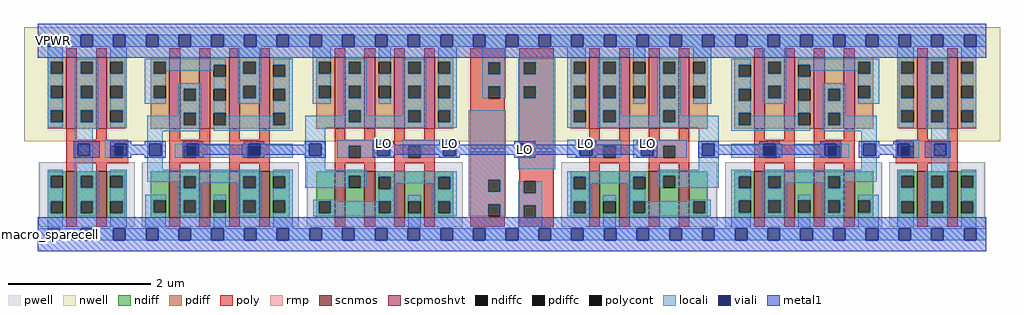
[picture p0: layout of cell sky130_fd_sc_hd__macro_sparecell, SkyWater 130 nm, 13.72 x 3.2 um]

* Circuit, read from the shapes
.subckt sky130_fd_sc_hd__macro_sparecell VGND VNB VPB VPWR LO
XM1 sky130_fd_sc_hd__inv_2_1/Y sky130_fd_sc_hd__inv_2_1/A VGND VNB sky130_fd_pr__nfet_01v8 w=0.65 l=0.15 m=2
XM2 sky130_fd_sc_hd__inv_2_1/A sky130_fd_sc_hd__nor2_2_1/A VGND VNB sky130_fd_pr__nfet_01v8 w=0.65 l=0.15 m=4
XM3 sky130_fd_sc_hd__nor2_2_1/A LO n1 VNB sky130_fd_pr__nfet_01v8 w=0.65 l=0.15 m=2
XM4 VGND LO n1 VNB sky130_fd_pr__nfet_01v8 w=0.65 l=0.15 m=2
XM5 VGND LO n2 VNB sky130_fd_pr__nfet_01v8 w=0.65 l=0.15 m=2
XM6 sky130_fd_sc_hd__nor2_2_0/A LO n2 VNB sky130_fd_pr__nfet_01v8 w=0.65 l=0.15 m=2
XM7 sky130_fd_sc_hd__inv_2_0/A sky130_fd_sc_hd__nor2_2_0/A VGND VNB sky130_fd_pr__nfet_01v8 w=0.65 l=0.15 m=4
XM8 sky130_fd_sc_hd__inv_2_0/Y sky130_fd_sc_hd__inv_2_0/A VGND VNB sky130_fd_pr__nfet_01v8 w=0.65 l=0.15 m=2
XM9 sky130_fd_sc_hd__inv_2_1/Y sky130_fd_sc_hd__inv_2_1/A VPWR VPB sky130_fd_pr__pfet_01v8_hvt w=1 l=0.15 m=2
XM10 sky130_fd_sc_hd__inv_2_1/A sky130_fd_sc_hd__nor2_2_1/A n3 VPB sky130_fd_pr__pfet_01v8_hvt w=1 l=0.15 m=2
XM11 VPWR sky130_fd_sc_hd__nor2_2_1/A n3 VPB sky130_fd_pr__pfet_01v8_hvt w=1 l=0.15 m=2
XM12 sky130_fd_sc_hd__nor2_2_1/A LO VPWR VPB sky130_fd_pr__pfet_01v8_hvt w=1 l=0.15 m=4
XM13 sky130_fd_sc_hd__nor2_2_0/A LO VPWR VPB sky130_fd_pr__pfet_01v8_hvt w=1 l=0.15 m=4
XM14 VPWR sky130_fd_sc_hd__nor2_2_0/A n4 VPB sky130_fd_pr__pfet_01v8_hvt w=1 l=0.15 m=2
XM15 sky130_fd_sc_hd__inv_2_0/A sky130_fd_sc_hd__nor2_2_0/A n4 VPB sky130_fd_pr__pfet_01v8_hvt w=1 l=0.15 m=2
XM16 sky130_fd_sc_hd__inv_2_0/Y sky130_fd_sc_hd__inv_2_0/A VPWR VPB sky130_fd_pr__pfet_01v8_hvt w=1 l=0.15 m=2
R17 VPWR sky130_fd_sc_hd__conb_1_0/HI sky130_fd_pr__res_generic_po w=0.48 l=0.045
R18 LO VGND sky130_fd_pr__res_generic_po w=0.48 l=0.045
.ends

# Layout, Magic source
magic
tech sky130A
magscale 1 2
<< nwell >>
rect 29 527 63 561
<< pwell >>
rect 29 -17 63 17
<< viali >>
rect 113 221 147 255
rect 217 221 251 255
rect 314 221 348 255
rect 420 221 454 255
rect 592 221 626 255
rect 764 221 798 255
rect 955 221 989 255
rect 1141 221 1175 255
rect 1353 221 1387 255
rect 1525 221 1559 255
rect 1697 221 1731 255
rect 1869 221 1903 255
rect 2041 221 2075 255
rect 2213 221 2247 255
rect 2321 221 2355 255
rect 2418 221 2452 255
rect 2521 221 2555 255
<< metal1 >>
rect 29 527 63 561
rect 101 255 175 261
rect 101 221 113 255
rect 147 221 175 255
rect 101 215 175 221
rect 205 255 263 261
rect 205 221 217 255
rect 251 252 263 255
rect 302 255 360 261
rect 302 252 314 255
rect 251 224 314 252
rect 251 221 263 224
rect 205 215 263 221
rect 302 221 314 224
rect 348 221 360 255
rect 302 215 360 221
rect 408 255 466 261
rect 408 221 420 255
rect 454 252 466 255
rect 580 255 638 261
rect 580 252 592 255
rect 454 224 592 252
rect 454 221 466 224
rect 408 215 466 221
rect 580 221 592 224
rect 626 252 638 255
rect 752 255 810 261
rect 752 252 764 255
rect 626 224 764 252
rect 626 221 638 224
rect 580 215 638 221
rect 752 221 764 224
rect 798 221 810 255
rect 752 215 810 221
rect 943 255 1001 261
rect 943 221 955 255
rect 989 252 1001 255
rect 1129 255 1187 261
rect 1129 252 1141 255
rect 989 224 1141 252
rect 989 221 1001 224
rect 943 215 1001 221
rect 1129 221 1141 224
rect 1175 252 1187 255
rect 1341 255 1399 261
rect 1341 252 1353 255
rect 1175 224 1353 252
rect 1175 221 1187 224
rect 1129 215 1187 221
rect 1341 221 1353 224
rect 1387 252 1399 255
rect 1513 255 1571 261
rect 1513 252 1525 255
rect 1387 224 1525 252
rect 1387 221 1399 224
rect 1341 215 1399 221
rect 1513 221 1525 224
rect 1559 252 1571 255
rect 1685 255 1743 261
rect 1685 252 1697 255
rect 1559 224 1697 252
rect 1559 221 1571 224
rect 1513 215 1571 221
rect 1685 221 1697 224
rect 1731 221 1743 255
rect 1685 215 1743 221
rect 1857 255 1915 261
rect 1857 221 1869 255
rect 1903 252 1915 255
rect 2029 255 2087 261
rect 2029 252 2041 255
rect 1903 224 2041 252
rect 1903 221 1915 224
rect 1857 215 1915 221
rect 2029 221 2041 224
rect 2075 252 2087 255
rect 2201 255 2259 261
rect 2201 252 2213 255
rect 2075 224 2213 252
rect 2075 221 2087 224
rect 2029 215 2087 221
rect 2201 221 2213 224
rect 2247 221 2259 255
rect 2201 215 2259 221
rect 2309 255 2367 261
rect 2309 221 2321 255
rect 2355 252 2367 255
rect 2406 255 2464 261
rect 2406 252 2418 255
rect 2355 224 2418 252
rect 2355 221 2367 224
rect 2309 215 2367 221
rect 2406 221 2418 224
rect 2452 221 2464 255
rect 2406 215 2464 221
rect 2494 255 2567 261
rect 2494 221 2521 255
rect 2555 221 2567 255
rect 2494 215 2567 221
rect 29 -17 63 17
use sky130_fd_sc_hd__conb_1  sky130_fd_sc_hd__conb_1_0
transform 1 0 1196 0 1 0
box -38 -48 314 592
use sky130_fd_sc_hd__inv_2  sky130_fd_sc_hd__inv_2_0
transform 1 0 2392 0 1 0
box -38 -48 314 592
use sky130_fd_sc_hd__inv_2  sky130_fd_sc_hd__inv_2_1
transform -1 0 276 0 1 0
box -38 -48 314 592
use sky130_fd_sc_hd__nand2_2  sky130_fd_sc_hd__nand2_2_0
transform 1 0 1472 0 1 0
box -38 -48 498 592
use sky130_fd_sc_hd__nand2_2  sky130_fd_sc_hd__nand2_2_1
transform -1 0 1196 0 1 0
box -38 -48 498 592
use sky130_fd_sc_hd__nor2_2  sky130_fd_sc_hd__nor2_2_0
transform 1 0 1932 0 1 0
box -38 -48 498 592
use sky130_fd_sc_hd__nor2_2  sky130_fd_sc_hd__nor2_2_1
transform -1 0 736 0 1 0
box -38 -48 498 592
<< labels >>
rlabel comment s 0 0 0 0 4 macro_sparecell
flabel metal1 s 29 -17 63 17 0 FreeSans 200 0 0 0 VGND
port 1 nsew ground bidirectional abutment
flabel metal1 s 29 527 63 561 0 FreeSans 200 0 0 0 VPWR
port 4 nsew power bidirectional abutment
flabel metal1 s 46 0 46 0 0 FreeSans 400 0 0 0 VGND
flabel metal1 s 46 544 46 544 0 FreeSans 400 0 0 0 VPWR
flabel metal1 s 1353 221 1387 255 0 FreeSans 200 0 0 0 LO
port 5 nsew signal output
flabel metal1 s 46 0 46 0 0 FreeSans 200 0 0 0 VGND
flabel metal1 s 46 544 46 544 0 FreeSans 200 0 0 0 VPWR
flabel metal1 s 46 0 46 0 0 FreeSans 200 0 0 0 VGND
flabel metal1 s 46 544 46 544 0 FreeSans 200 0 0 0 VPWR
flabel pwell s 29 -17 63 17 0 FreeSans 200 0 0 0 VNB
port 2 nsew ground bidirectional
flabel nwell s 29 527 63 561 0 FreeSans 200 0 0 0 VPB
port 3 nsew power bidirectional
rlabel metal1 s 1685 252 1743 261 1 LO
port 5 nsew signal output
rlabel metal1 s 1685 215 1743 224 1 LO
port 5 nsew signal output
rlabel metal1 s 1513 252 1571 261 1 LO
port 5 nsew signal output
rlabel metal1 s 1513 215 1571 224 1 LO
port 5 nsew signal output
rlabel metal1 s 1341 252 1399 261 1 LO
port 5 nsew signal output
rlabel metal1 s 1341 215 1399 224 1 LO
port 5 nsew signal output
rlabel metal1 s 1129 252 1187 261 1 LO
port 5 nsew signal output
rlabel metal1 s 1129 215 1187 224 1 LO
port 5 nsew signal output
rlabel metal1 s 943 252 1001 261 1 LO
port 5 nsew signal output
rlabel metal1 s 943 224 1743 252 1 LO
port 5 nsew signal output
rlabel metal1 s 943 215 1001 224 1 LO
port 5 nsew signal output
<< properties >>
string FIXED_BBOX 0 0 2668 544
string GDS_END 1642670
string GDS_FILE $PDKPATH/libs.ref/sky130_fd_sc_hd/gds/sky130_fd_sc_hd.gds
string GDS_START 1638744
string LEFclass CORE
string LEFsite unithd
string LEFsymmetry X Y R90
<< end >>

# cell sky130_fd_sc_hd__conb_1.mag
magic
tech sky130A
magscale 1 2
<< nwell >>
rect -38 261 314 582
<< pwell >>
rect 29 -17 63 17
<< poly >>
rect 21 484 117 523
rect 21 450 71 484
rect 105 450 117 484
rect 21 416 117 450
rect 21 382 71 416
rect 105 382 117 416
rect 21 241 117 382
rect 21 153 117 232
rect 21 119 71 153
rect 105 119 117 153
rect 21 85 117 119
rect 21 51 71 85
rect 105 51 117 85
rect 21 21 117 51
rect 159 484 255 523
rect 159 450 171 484
rect 205 450 255 484
rect 159 416 255 450
rect 159 382 171 416
rect 205 382 255 416
rect 159 241 255 382
rect 159 149 255 232
rect 159 115 171 149
rect 205 115 255 149
rect 159 81 255 115
rect 159 47 171 81
rect 205 47 255 81
rect 159 21 255 47
<< polycont >>
rect 71 450 105 484
rect 71 382 105 416
rect 71 119 105 153
rect 71 51 105 85
rect 171 450 205 484
rect 171 382 205 416
rect 171 115 205 149
rect 171 47 205 81
<< rmp >>
rect 21 232 117 241
rect 159 232 255 241
<< locali >>
rect 0 527 29 561
rect 63 527 121 561
rect 155 527 213 561
rect 247 527 276 561
rect 55 484 121 527
rect 55 450 71 484
rect 105 450 121 484
rect 55 416 121 450
rect 55 382 71 416
rect 105 382 121 416
rect 155 484 259 493
rect 155 450 171 484
rect 205 450 259 484
rect 155 416 259 450
rect 155 382 171 416
rect 205 382 259 416
rect 17 153 121 348
rect 155 183 259 382
rect 17 119 71 153
rect 105 119 121 153
rect 17 85 121 119
rect 17 51 71 85
rect 105 51 121 85
rect 155 115 171 149
rect 205 115 223 149
rect 155 81 223 115
rect 155 47 171 81
rect 205 47 223 81
rect 155 17 223 47
rect 0 -17 29 17
rect 63 -17 121 17
rect 155 -17 213 17
rect 247 -17 276 17
<< viali >>
rect 29 527 63 561
rect 121 527 155 561
rect 213 527 247 561
rect 29 -17 63 17
rect 121 -17 155 17
rect 213 -17 247 17
<< metal1 >>
rect 0 561 276 592
rect 0 527 29 561
rect 63 527 121 561
rect 155 527 213 561
rect 247 527 276 561
rect 0 496 276 527
rect 0 17 276 48
rect 0 -17 29 17
rect 63 -17 121 17
rect 155 -17 213 17
rect 247 -17 276 17
rect 0 -48 276 -17
<< labels >>
flabel locali s 194 289 228 323 0 FreeSans 200 0 0 0 LO
port 6 nsew signal output
flabel locali s 67 225 101 259 0 FreeSans 200 0 0 0 HI
port 5 nsew signal output
flabel nwell s 29 527 63 561 0 FreeSans 200 0 0 0 VPB
port 3 nsew power bidirectional
flabel pwell s 29 -17 63 17 0 FreeSans 200 0 0 0 VNB
port 2 nsew ground bidirectional
flabel metal1 s 29 -17 63 17 0 FreeSans 200 0 0 0 VGND
port 1 nsew ground bidirectional abutment
flabel metal1 s 29 527 63 561 0 FreeSans 200 0 0 0 VPWR
port 4 nsew power bidirectional abutment
rlabel comment s 0 0 0 0 4 conb_1
flabel comment s 45 273 45 273 0 FreeSans 200 90 0 0 resistive_li1_ok
flabel comment s 233 273 233 273 0 FreeSans 200 90 0 0 resistive_li1_ok
flabel comment s 186 258 186 258 0 FreeSans 200 90 0 0 no_jumper_check
flabel comment s 83 258 83 258 0 FreeSans 200 90 0 0 no_jumper_check
rlabel metal1 s 0 -48 276 48 1 VGND
port 1 nsew ground bidirectional abutment
rlabel metal1 s 0 496 276 592 1 VPWR
port 4 nsew power bidirectional abutment
<< properties >>
string FIXED_BBOX 0 0 276 544
string GDS_END 1638680
string GDS_FILE $PDKPATH/libs.ref/sky130_fd_sc_hd/gds/sky130_fd_sc_hd.gds
string GDS_START 1635376
string LEFclass CORE
string LEFsite unithd
string LEFsymmetry X Y R90
string path 0.000 13.600 6.900 13.600 
<< end >>

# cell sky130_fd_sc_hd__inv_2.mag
magic
tech sky130A
magscale 1 2
<< nwell >>
rect -38 261 314 582
<< pwell >>
rect 3 21 273 203
rect 29 -17 63 21
<< scnmos >>
rect 81 47 111 177
rect 165 47 195 177
<< scpmoshvt >>
rect 81 297 111 497
rect 165 297 195 497
<< ndiff >>
rect 29 165 81 177
rect 29 131 37 165
rect 71 131 81 165
rect 29 93 81 131
rect 29 59 37 93
rect 71 59 81 93
rect 29 47 81 59
rect 111 165 165 177
rect 111 131 121 165
rect 155 131 165 165
rect 111 93 165 131
rect 111 59 121 93
rect 155 59 165 93
rect 111 47 165 59
rect 195 165 247 177
rect 195 131 205 165
rect 239 131 247 165
rect 195 93 247 131
rect 195 59 205 93
rect 239 59 247 93
rect 195 47 247 59
<< pdiff >>
rect 29 485 81 497
rect 29 451 37 485
rect 71 451 81 485
rect 29 417 81 451
rect 29 383 37 417
rect 71 383 81 417
rect 29 349 81 383
rect 29 315 37 349
rect 71 315 81 349
rect 29 297 81 315
rect 111 485 165 497
rect 111 451 121 485
rect 155 451 165 485
rect 111 417 165 451
rect 111 383 121 417
rect 155 383 165 417
rect 111 349 165 383
rect 111 315 121 349
rect 155 315 165 349
rect 111 297 165 315
rect 195 485 247 497
rect 195 451 205 485
rect 239 451 247 485
rect 195 417 247 451
rect 195 383 205 417
rect 239 383 247 417
rect 195 349 247 383
rect 195 315 205 349
rect 239 315 247 349
rect 195 297 247 315
<< ndiffc >>
rect 37 131 71 165
rect 37 59 71 93
rect 121 131 155 165
rect 121 59 155 93
rect 205 131 239 165
rect 205 59 239 93
<< pdiffc >>
rect 37 451 71 485
rect 37 383 71 417
rect 37 315 71 349
rect 121 451 155 485
rect 121 383 155 417
rect 121 315 155 349
rect 205 451 239 485
rect 205 383 239 417
rect 205 315 239 349
<< poly >>
rect 81 497 111 523
rect 165 497 195 523
rect 81 265 111 297
rect 165 265 195 297
rect 21 249 195 265
rect 21 215 37 249
rect 71 215 195 249
rect 21 199 195 215
rect 81 177 111 199
rect 165 177 195 199
rect 81 21 111 47
rect 165 21 195 47
<< polycont >>
rect 37 215 71 249
<< locali >>
rect 0 527 29 561
rect 63 527 121 561
rect 155 527 213 561
rect 247 527 276 561
rect 25 485 71 527
rect 25 451 37 485
rect 25 417 71 451
rect 25 383 37 417
rect 25 349 71 383
rect 25 315 37 349
rect 25 299 71 315
rect 105 485 171 493
rect 105 451 121 485
rect 155 451 171 485
rect 105 417 171 451
rect 105 383 121 417
rect 155 383 171 417
rect 105 349 171 383
rect 105 315 121 349
rect 155 315 171 349
rect 105 297 171 315
rect 205 485 247 527
rect 239 451 247 485
rect 205 417 247 451
rect 239 383 247 417
rect 205 349 247 383
rect 239 315 247 349
rect 205 299 247 315
rect 21 249 87 265
rect 21 215 37 249
rect 71 215 87 249
rect 25 165 71 181
rect 121 177 171 297
rect 25 131 37 165
rect 25 93 71 131
rect 25 59 37 93
rect 25 17 71 59
rect 105 165 171 177
rect 105 131 121 165
rect 155 131 171 165
rect 105 93 171 131
rect 105 59 121 93
rect 155 59 171 93
rect 105 51 171 59
rect 205 165 247 181
rect 239 131 247 165
rect 205 93 247 131
rect 239 59 247 93
rect 205 17 247 59
rect 0 -17 29 17
rect 63 -17 121 17
rect 155 -17 213 17
rect 247 -17 276 17
<< viali >>
rect 29 527 63 561
rect 121 527 155 561
rect 213 527 247 561
rect 29 -17 63 17
rect 121 -17 155 17
rect 213 -17 247 17
<< metal1 >>
rect 0 561 276 592
rect 0 527 29 561
rect 63 527 121 561
rect 155 527 213 561
rect 247 527 276 561
rect 0 496 276 527
rect 0 17 276 48
rect 0 -17 29 17
rect 63 -17 121 17
rect 155 -17 213 17
rect 247 -17 276 17
rect 0 -48 276 -17
<< labels >>
flabel locali s 29 221 63 255 0 FreeSans 340 0 0 0 A
port 1 nsew signal input
flabel locali s 121 153 155 187 0 FreeSans 340 0 0 0 Y
port 6 nsew signal output
flabel locali s 121 289 155 323 0 FreeSans 340 0 0 0 Y
port 6 nsew signal output
flabel locali s 121 221 155 255 0 FreeSans 340 0 0 0 Y
port 6 nsew signal output
flabel nwell s 29 527 63 561 0 FreeSans 200 0 0 0 VPB
port 4 nsew power bidirectional
flabel pwell s 29 -17 63 17 0 FreeSans 200 0 0 0 VNB
port 3 nsew ground bidirectional
flabel metal1 s 29 527 63 561 0 FreeSans 200 0 0 0 VPWR
port 5 nsew power bidirectional abutment
flabel metal1 s 29 -17 63 17 0 FreeSans 200 0 0 0 VGND
port 2 nsew ground bidirectional abutment
rlabel comment s 0 0 0 0 4 inv_2
rlabel metal1 s 0 -48 276 48 1 VGND
port 2 nsew ground bidirectional abutment
rlabel metal1 s 0 496 276 592 1 VPWR
port 5 nsew power bidirectional abutment
<< properties >>
string FIXED_BBOX 0 0 276 544
string GDS_END 1635320
string GDS_FILE $PDKPATH/libs.ref/sky130_fd_sc_hd/gds/sky130_fd_sc_hd.gds
string GDS_START 1631572
string LEFclass CORE
string LEFsite unithd
string LEFsymmetry X Y R90
string path 0.000 0.000 6.900 0.000 
<< end >>

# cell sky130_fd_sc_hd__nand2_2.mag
magic
tech sky130A
magscale 1 2
<< nwell >>
rect -38 261 498 582
<< pwell >>
rect 1 21 439 203
rect 30 -17 64 21
<< scnmos >>
rect 79 47 109 177
rect 163 47 193 177
rect 247 47 277 177
rect 331 47 361 177
<< scpmoshvt >>
rect 79 297 109 497
rect 163 297 193 497
rect 247 297 277 497
rect 331 297 361 497
<< ndiff >>
rect 27 161 79 177
rect 27 127 35 161
rect 69 127 79 161
rect 27 93 79 127
rect 27 59 35 93
rect 69 59 79 93
rect 27 47 79 59
rect 109 93 163 177
rect 109 59 119 93
rect 153 59 163 93
rect 109 47 163 59
rect 193 161 247 177
rect 193 127 203 161
rect 237 127 247 161
rect 193 93 247 127
rect 193 59 203 93
rect 237 59 247 93
rect 193 47 247 59
rect 277 165 331 177
rect 277 131 287 165
rect 321 131 331 165
rect 277 47 331 131
rect 361 93 413 177
rect 361 59 371 93
rect 405 59 413 93
rect 361 47 413 59
<< pdiff >>
rect 27 485 79 497
rect 27 451 35 485
rect 69 451 79 485
rect 27 417 79 451
rect 27 383 35 417
rect 69 383 79 417
rect 27 349 79 383
rect 27 315 35 349
rect 69 315 79 349
rect 27 297 79 315
rect 109 485 163 497
rect 109 451 119 485
rect 153 451 163 485
rect 109 417 163 451
rect 109 383 119 417
rect 153 383 163 417
rect 109 349 163 383
rect 109 315 119 349
rect 153 315 163 349
rect 109 297 163 315
rect 193 485 247 497
rect 193 451 203 485
rect 237 451 247 485
rect 193 417 247 451
rect 193 383 203 417
rect 237 383 247 417
rect 193 297 247 383
rect 277 485 331 497
rect 277 451 287 485
rect 321 451 331 485
rect 277 417 331 451
rect 277 383 287 417
rect 321 383 331 417
rect 277 349 331 383
rect 277 315 287 349
rect 321 315 331 349
rect 277 297 331 315
rect 361 485 413 497
rect 361 451 371 485
rect 405 451 413 485
rect 361 417 413 451
rect 361 383 371 417
rect 405 383 413 417
rect 361 297 413 383
<< ndiffc >>
rect 35 127 69 161
rect 35 59 69 93
rect 119 59 153 93
rect 203 127 237 161
rect 203 59 237 93
rect 287 131 321 165
rect 371 59 405 93
<< pdiffc >>
rect 35 451 69 485
rect 35 383 69 417
rect 35 315 69 349
rect 119 451 153 485
rect 119 383 153 417
rect 119 315 153 349
rect 203 451 237 485
rect 203 383 237 417
rect 287 451 321 485
rect 287 383 321 417
rect 287 315 321 349
rect 371 451 405 485
rect 371 383 405 417
<< poly >>
rect 79 497 109 523
rect 163 497 193 523
rect 247 497 277 523
rect 331 497 361 523
rect 79 265 109 297
rect 163 265 193 297
rect 79 249 193 265
rect 79 215 119 249
rect 153 215 193 249
rect 79 199 193 215
rect 79 177 109 199
rect 163 177 193 199
rect 247 265 277 297
rect 331 265 361 297
rect 247 249 361 265
rect 247 215 287 249
rect 321 215 361 249
rect 247 199 361 215
rect 247 177 277 199
rect 331 177 361 199
rect 79 21 109 47
rect 163 21 193 47
rect 247 21 277 47
rect 331 21 361 47
<< polycont >>
rect 119 215 153 249
rect 287 215 321 249
<< locali >>
rect 0 527 29 561
rect 63 527 121 561
rect 155 527 213 561
rect 247 527 305 561
rect 339 527 397 561
rect 431 527 460 561
rect 17 485 69 527
rect 17 451 35 485
rect 17 417 69 451
rect 17 383 35 417
rect 17 349 69 383
rect 17 315 35 349
rect 17 299 69 315
rect 103 485 169 493
rect 103 451 119 485
rect 153 451 169 485
rect 103 417 169 451
rect 103 383 119 417
rect 153 383 169 417
rect 103 349 169 383
rect 203 485 237 527
rect 203 417 237 451
rect 203 367 237 383
rect 271 485 337 493
rect 271 451 287 485
rect 321 451 337 485
rect 271 417 337 451
rect 271 383 287 417
rect 321 383 337 417
rect 103 315 119 349
rect 153 333 169 349
rect 271 349 337 383
rect 371 485 422 527
rect 405 451 422 485
rect 371 417 422 451
rect 405 383 422 417
rect 371 367 422 383
rect 271 333 287 349
rect 153 315 287 333
rect 321 333 337 349
rect 321 315 443 333
rect 103 299 443 315
rect 17 249 169 265
rect 17 215 119 249
rect 153 215 169 249
rect 203 249 353 265
rect 203 215 287 249
rect 321 215 353 249
rect 387 181 443 299
rect 17 161 237 177
rect 17 127 35 161
rect 69 143 203 161
rect 69 127 85 143
rect 17 93 85 127
rect 187 127 203 143
rect 271 165 443 181
rect 271 131 287 165
rect 321 131 443 165
rect 17 59 35 93
rect 69 59 85 93
rect 17 51 85 59
rect 119 93 153 109
rect 119 17 153 59
rect 187 93 237 127
rect 355 93 421 97
rect 187 59 203 93
rect 237 59 371 93
rect 405 59 421 93
rect 187 51 421 59
rect 0 -17 29 17
rect 63 -17 121 17
rect 155 -17 213 17
rect 247 -17 305 17
rect 339 -17 397 17
rect 431 -17 460 17
<< viali >>
rect 29 527 63 561
rect 121 527 155 561
rect 213 527 247 561
rect 305 527 339 561
rect 397 527 431 561
rect 29 -17 63 17
rect 121 -17 155 17
rect 213 -17 247 17
rect 305 -17 339 17
rect 397 -17 431 17
<< metal1 >>
rect 0 561 460 592
rect 0 527 29 561
rect 63 527 121 561
rect 155 527 213 561
rect 247 527 305 561
rect 339 527 397 561
rect 431 527 460 561
rect 0 496 460 527
rect 0 17 460 48
rect 0 -17 29 17
rect 63 -17 121 17
rect 155 -17 213 17
rect 247 -17 305 17
rect 339 -17 397 17
rect 431 -17 460 17
rect 0 -48 460 -17
<< labels >>
flabel locali s 398 153 432 187 0 FreeSans 250 0 0 0 Y
port 7 nsew signal output
flabel locali s 398 221 432 255 0 FreeSans 250 0 0 0 Y
port 7 nsew signal output
flabel locali s 398 289 432 323 0 FreeSans 250 0 0 0 Y
port 7 nsew signal output
flabel locali s 306 221 340 255 0 FreeSans 250 0 0 0 A
port 1 nsew signal input
flabel locali s 122 221 156 255 0 FreeSans 250 0 0 0 B
port 2 nsew signal input
flabel nwell s 30 527 64 561 0 FreeSans 200 0 0 0 VPB
port 5 nsew power bidirectional
flabel pwell s 30 -17 64 17 0 FreeSans 200 0 0 0 VNB
port 4 nsew ground bidirectional
flabel metal1 s 30 -17 64 17 0 FreeSans 200 0 0 0 VGND
port 3 nsew ground bidirectional abutment
flabel metal1 s 30 527 64 561 0 FreeSans 200 0 0 0 VPWR
port 6 nsew power bidirectional abutment
rlabel comment s 0 0 0 0 4 nand2_2
rlabel metal1 s 0 -48 460 48 1 VGND
port 3 nsew ground bidirectional abutment
rlabel metal1 s 0 496 460 592 1 VPWR
port 6 nsew power bidirectional abutment
<< properties >>
string FIXED_BBOX 0 0 460 544
string GDS_END 1631518
string GDS_FILE $PDKPATH/libs.ref/sky130_fd_sc_hd/gds/sky130_fd_sc_hd.gds
string GDS_START 1626538
string LEFclass CORE
string LEFsite unithd
string LEFsymmetry X Y R90
string path 0.000 0.000 11.500 0.000 
<< end >>

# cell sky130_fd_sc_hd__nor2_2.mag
magic
tech sky130A
magscale 1 2
<< nwell >>
rect -38 261 498 582
<< pwell >>
rect 1 21 443 203
rect 30 -17 64 21
<< scnmos >>
rect 83 47 113 177
rect 167 47 197 177
rect 251 47 281 177
rect 335 47 365 177
<< scpmoshvt >>
rect 83 297 113 497
rect 167 297 197 497
rect 251 297 281 497
rect 335 297 365 497
<< ndiff >>
rect 27 163 83 177
rect 27 129 39 163
rect 73 129 83 163
rect 27 95 83 129
rect 27 61 39 95
rect 73 61 83 95
rect 27 47 83 61
rect 113 163 167 177
rect 113 129 123 163
rect 157 129 167 163
rect 113 95 167 129
rect 113 61 123 95
rect 157 61 167 95
rect 113 47 167 61
rect 197 95 251 177
rect 197 61 207 95
rect 241 61 251 95
rect 197 47 251 61
rect 281 163 335 177
rect 281 129 291 163
rect 325 129 335 163
rect 281 95 335 129
rect 281 61 291 95
rect 325 61 335 95
rect 281 47 335 61
rect 365 95 417 177
rect 365 61 375 95
rect 409 61 417 95
rect 365 47 417 61
<< pdiff >>
rect 27 477 83 497
rect 27 443 39 477
rect 73 443 83 477
rect 27 409 83 443
rect 27 375 39 409
rect 73 375 83 409
rect 27 341 83 375
rect 27 307 39 341
rect 73 307 83 341
rect 27 297 83 307
rect 113 485 167 497
rect 113 451 123 485
rect 157 451 167 485
rect 113 417 167 451
rect 113 383 123 417
rect 157 383 167 417
rect 113 297 167 383
rect 197 477 251 497
rect 197 443 207 477
rect 241 443 251 477
rect 197 409 251 443
rect 197 375 207 409
rect 241 375 251 409
rect 197 341 251 375
rect 197 307 207 341
rect 241 307 251 341
rect 197 297 251 307
rect 281 409 335 497
rect 281 375 291 409
rect 325 375 335 409
rect 281 341 335 375
rect 281 307 291 341
rect 325 307 335 341
rect 281 297 335 307
rect 365 485 417 497
rect 365 451 375 485
rect 409 451 417 485
rect 365 417 417 451
rect 365 383 375 417
rect 409 383 417 417
rect 365 297 417 383
<< ndiffc >>
rect 39 129 73 163
rect 39 61 73 95
rect 123 129 157 163
rect 123 61 157 95
rect 207 61 241 95
rect 291 129 325 163
rect 291 61 325 95
rect 375 61 409 95
<< pdiffc >>
rect 39 443 73 477
rect 39 375 73 409
rect 39 307 73 341
rect 123 451 157 485
rect 123 383 157 417
rect 207 443 241 477
rect 207 375 241 409
rect 207 307 241 341
rect 291 375 325 409
rect 291 307 325 341
rect 375 451 409 485
rect 375 383 409 417
<< poly >>
rect 83 497 113 523
rect 167 497 197 523
rect 251 497 281 523
rect 335 497 365 523
rect 83 265 113 297
rect 167 265 197 297
rect 83 249 197 265
rect 83 215 112 249
rect 146 215 197 249
rect 83 199 197 215
rect 83 177 113 199
rect 167 177 197 199
rect 251 265 281 297
rect 335 265 365 297
rect 251 249 365 265
rect 251 215 291 249
rect 325 215 365 249
rect 251 199 365 215
rect 251 177 281 199
rect 335 177 365 199
rect 83 21 113 47
rect 167 21 197 47
rect 251 21 281 47
rect 335 21 365 47
<< polycont >>
rect 112 215 146 249
rect 291 215 325 249
<< locali >>
rect 0 527 29 561
rect 63 527 121 561
rect 155 527 213 561
rect 247 527 305 561
rect 339 527 397 561
rect 431 527 460 561
rect 18 477 73 493
rect 18 443 39 477
rect 18 409 73 443
rect 18 375 39 409
rect 18 341 73 375
rect 107 485 173 527
rect 107 451 123 485
rect 157 451 173 485
rect 107 417 173 451
rect 107 383 123 417
rect 157 383 173 417
rect 107 367 173 383
rect 207 485 435 493
rect 207 477 375 485
rect 241 459 375 477
rect 207 409 241 443
rect 409 451 435 485
rect 18 307 39 341
rect 207 341 241 375
rect 73 307 207 333
rect 18 291 241 307
rect 275 409 341 425
rect 275 375 291 409
rect 325 375 341 409
rect 275 341 341 375
rect 375 417 435 451
rect 409 383 435 417
rect 375 367 435 383
rect 275 307 291 341
rect 325 333 341 341
rect 325 307 427 333
rect 275 289 427 307
rect 18 249 162 255
rect 18 215 112 249
rect 146 215 162 249
rect 196 249 350 255
rect 196 215 291 249
rect 325 215 350 249
rect 384 181 427 289
rect 18 163 73 181
rect 18 129 39 163
rect 18 95 73 129
rect 18 61 39 95
rect 18 17 73 61
rect 107 163 427 181
rect 107 129 123 163
rect 157 145 291 163
rect 157 129 173 145
rect 107 95 173 129
rect 275 129 291 145
rect 325 147 427 163
rect 325 129 341 147
rect 107 61 123 95
rect 157 61 173 95
rect 107 51 173 61
rect 207 95 241 111
rect 207 17 241 61
rect 275 95 341 129
rect 275 61 291 95
rect 325 61 341 95
rect 275 51 341 61
rect 375 95 433 111
rect 409 61 433 95
rect 375 17 433 61
rect 0 -17 29 17
rect 63 -17 121 17
rect 155 -17 213 17
rect 247 -17 305 17
rect 339 -17 397 17
rect 431 -17 460 17
<< viali >>
rect 29 527 63 561
rect 121 527 155 561
rect 213 527 247 561
rect 305 527 339 561
rect 397 527 431 561
rect 29 -17 63 17
rect 121 -17 155 17
rect 213 -17 247 17
rect 305 -17 339 17
rect 397 -17 431 17
<< metal1 >>
rect 0 561 460 592
rect 0 527 29 561
rect 63 527 121 561
rect 155 527 213 561
rect 247 527 305 561
rect 339 527 397 561
rect 431 527 460 561
rect 0 496 460 527
rect 0 17 460 48
rect 0 -17 29 17
rect 63 -17 121 17
rect 155 -17 213 17
rect 247 -17 305 17
rect 339 -17 397 17
rect 431 -17 460 17
rect 0 -48 460 -17
<< labels >>
flabel locali s 214 221 248 255 0 FreeSans 400 0 0 0 B
port 2 nsew signal input
flabel locali s 306 357 340 391 0 FreeSans 400 0 0 0 Y
port 7 nsew signal output
flabel locali s 30 221 64 255 0 FreeSans 400 0 0 0 A
port 1 nsew signal input
flabel nwell s 30 527 64 561 0 FreeSans 200 0 0 0 VPB
port 5 nsew power bidirectional
flabel pwell s 30 -17 64 17 0 FreeSans 200 0 0 0 VNB
port 4 nsew ground bidirectional
flabel metal1 s 30 -17 64 17 0 FreeSans 200 0 0 0 VGND
port 3 nsew ground bidirectional abutment
flabel metal1 s 30 527 64 561 0 FreeSans 200 0 0 0 VPWR
port 6 nsew power bidirectional abutment
rlabel comment s 0 0 0 0 4 nor2_2
rlabel metal1 s 0 -48 460 48 1 VGND
port 3 nsew ground bidirectional abutment
rlabel metal1 s 0 496 460 592 1 VPWR
port 6 nsew power bidirectional abutment
<< properties >>
string FIXED_BBOX 0 0 460 544
string GDS_END 1626482
string GDS_FILE $PDKPATH/libs.ref/sky130_fd_sc_hd/gds/sky130_fd_sc_hd.gds
string GDS_START 1621740
string LEFclass CORE
string LEFsite unithd
string LEFsymmetry X Y R90
string path 0.000 0.000 11.500 0.000 
<< end >>
